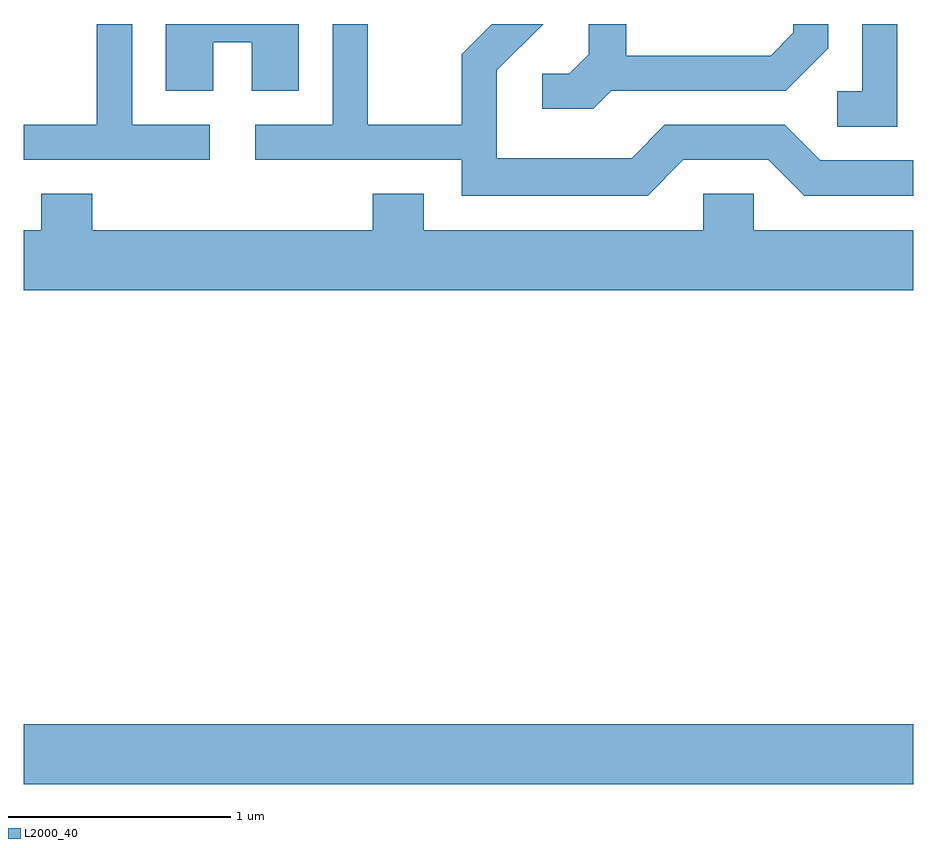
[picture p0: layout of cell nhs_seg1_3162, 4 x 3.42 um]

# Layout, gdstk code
import gdstk
lib = gdstk.Library(unit=1e-6, precision=1e-09)
def R(c, l, rs):  # rectangles x0, y0, x1, y1
    for r in rs: c.add(gdstk.rectangle(r[:2], r[2:], *l))
def P(c, l, *ps):  # polygons
    for p in ps: c.add(gdstk.Polygon(p, *l))
L2000_40 = (2000, 40)

nhs_seg1_3162 = lib.new_cell('nhs_seg1_3162')
R(nhs_seg1_3162, L2000_40, [(281.611,846.296,285.611,846.564)])
P(nhs_seg1_3162, L2000_40, [(282.464,849.631),(282.636,849.631),(282.636,849.411),(282.849,849.411),(282.849,849.712),(282.251,849.712),(282.251,849.411),(282.464,849.411)],
  [(284.252,849.411),(285.037,849.411),(285.229,849.604),(285.229,849.712),(285.071,849.712),(285.071,849.672),(284.969,849.569),(284.319,849.569),(284.319,849.712),(284.151,849.712),(284.151,849.577),(284.064,849.489),(283.943,849.489),(283.943,849.331),(284.172,849.331)],
  [(285.539,849.712),(285.381,849.712),(285.381,849.409),(285.268,849.409),(285.268,849.251),(285.539,849.251)],
  [(284.577,849.101),(284.959,849.101),(285.119,848.941),(285.611,848.941),(285.611,849.099),(285.192,849.099),(285.032,849.259),(284.494,849.259),(284.344,849.109),(283.739,849.109),(283.739,849.504),(283.947,849.712),(283.716,849.712),(283.581,849.577),(283.581,849.259),(283.159,849.259),(283.159,849.712),(283.001,849.712),(283.001,849.259),(282.653,849.259),(282.653,849.101),(283.581,849.101),(283.581,848.941),(284.417,848.941)],
  [(282.448,849.259),(282.099,849.259),(282.099,849.712),(281.941,849.712),(281.941,849.259),(281.611,849.259),(281.611,849.101),(282.448,849.101)],
  [(285.611,848.784),(284.894,848.784),(284.894,848.949),(284.666,848.949),(284.666,848.784),(283.409,848.784),(283.409,848.949),(283.181,848.949),(283.181,848.784),(281.919,848.784),(281.919,848.949),(281.691,848.949),(281.691,848.784),(281.611,848.784),(281.611,848.516),(285.611,848.516)])

lib.write_gds('nhs_seg1_3162.gds')
